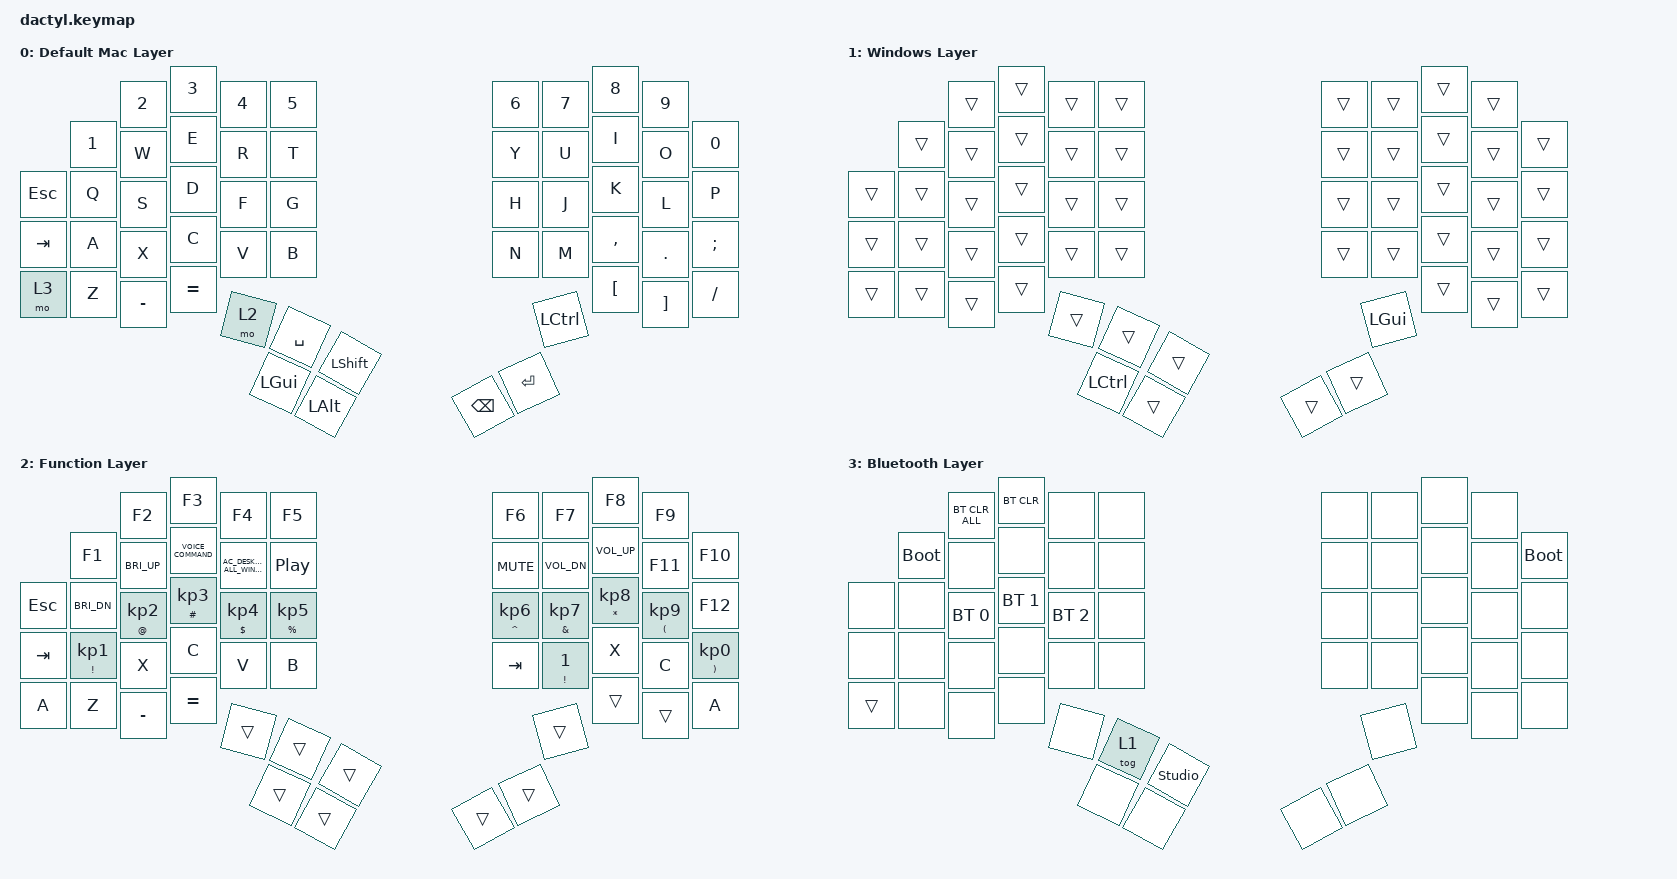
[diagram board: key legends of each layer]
#include <behaviors.dtsi>
#include <dt-bindings/zmk/keys.h>
#include <dt-bindings/zmk/bt.h>
#include <dt-bindings/zmk/behaviors.h>

#define windows C_AC_DESKTOP_SHOW_ALL_WINDOWS
#define bri_up C_BRI_UP
#define bri_dn C_BRI_DN
#define dict C_VOICE_COMMAND
#define vol_up C_VOL_UP
#define vol_dn C_VOL_DN
#define vol_mt C_MUTE

/ {
    behaviors {
        mt: mod_tap {
            compatible = "zmk,behavior-hold-tap";
            #binding-cells = <2>;
            flavor = "tap-preferred";
            tapping-term-ms = <500>;
            bindings = <&kp>, <&kp>;
            display-name = "Mod-Tap";
        };
    };
    keymap {
                compatible = "zmk,keymap";

                default_layer {
                        display-name = "Default Mac Layer";
                        bindings = <
                          &kp N2   &kp N3   &kp N4   &kp N5                           &kp N6   &kp N7   &kp N8   &kp N9
                 &kp N1   &kp W    &kp E    &kp R    &kp T                            &kp Y    &kp U    &kp I    &kp O    &kp N0
        &kp ESC  &kp Q    &kp S    &kp D    &kp F    &kp G                            &kp H    &kp J    &kp K    &kp L    &kp P
        &kp TAB  &kp A    &kp X    &kp C    &kp V    &kp B                            &kp N    &kp M   &kp COMMA &kp DOT  &kp SEMI
        &mo 3    &kp Z  &kp MINUS &kp EQUAL &mo 2    &kp SPACE &kp LSHFT     &kp BACKSPACE &kp RETURN &kp LCTRL &kp LEFT_BRACKET &kp RIGHT_BRACKET &kp SLASH
                                                     &kp LGUI  &kp LALT
                        >;
                };
                windows_layer {
                        display-name = "Windows Layer";
                        bindings = <
                          &trans   &trans   &trans   &trans                           &trans   &trans   &trans   &trans
                 &trans   &trans   &trans   &trans   &trans                           &trans   &trans   &trans   &trans   &trans
        &trans   &trans   &trans   &trans   &trans   &trans                           &trans   &trans   &trans   &trans   &trans
        &trans   &trans   &trans   &trans   &trans   &trans                           &trans   &trans   &trans   &trans   &trans
        &trans   &trans   &trans   &trans   &trans   &trans    &trans        &trans   &trans   &kp LGUI &trans   &trans   &trans
                                                     &kp LCTRL &trans
                        >;
                };
                function_layer {
                        display-name = "Function Layer";
                        bindings = <
                                &kp F2       &kp F3         &kp F4      &kp F5                             &kp F6          &kp F7         &kp F8         &kp F9
                 &kp F1         &kp bri_up   &kp dict       &kp windows &kp C_PP                           &kp C_MUTE      &kp vol_dn     &kp vol_up     &kp F11        &kp F10
        &kp ESC  &kp bri_dn     &mt AT KP_N2 &mt HASH KP_N3 &mt DLLR KP_N4 &mt PRCNT KP_N5                 &mt CARET KP_N6 &mt AMPS KP_N7 &mt STAR KP_N8 &mt LPAR KP_N9 &kp F12
        &kp TAB  &mt EXCL KP_N1 &kp X        &kp C          &kp V       &kp B                              &kp TAB         &mt EXCL N1    &kp X          &kp C          &mt RPAR KP_N0
        &kp A    &kp Z          &kp MINUS    &kp EQUAL      &trans      &trans  &trans             &trans  &trans          &trans         &trans         &trans         &kp A
                                                                        &trans  &trans
                        >;
                };
                bluetooth_layer {
                        display-name = "Bluetooth Layer";
                        bindings = <
                             &bt BT_CLR_ALL &bt BT_CLR   &none        &none                               &none &none &none &none
                 &bootloader &none          &none        &none        &none                               &none &none &none &none &bootloader
        &none    &none       &bt BT_SEL 0   &bt BT_SEL 1 &bt BT_SEL 2 &none                               &none &none &none &none &none
        &none    &none       &none          &none        &none        &none                               &none &none &none &none &none
        &trans   &none       &none          &none        &none        &tog 1    &studio_unlock      &none &none &none &none &none &none
                                                                      &none     &none
                        >;
                };
        };
};
